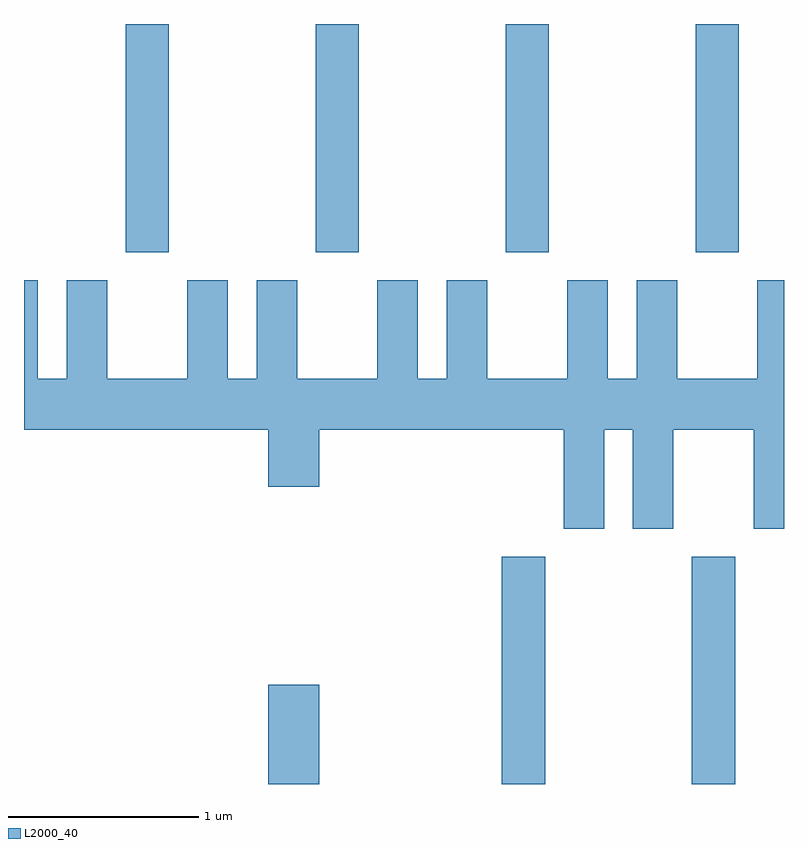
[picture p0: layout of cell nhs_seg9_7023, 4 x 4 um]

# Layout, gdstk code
import gdstk
lib = gdstk.Library(unit=1e-6, precision=1e-09)
def R(c, l, rs):  # rectangles x0, y0, x1, y1
    for r in rs: c.add(gdstk.rectangle(r[:2], r[2:], *l))
def A(c, l, x, y, w, h, nx, ny, dx, dy):  # array of equal rectangles
    R(c, l, [(x+i*dx, y+j*dy, x+i*dx+w, y+j*dy+h) for i in range(nx) for j in range(ny)])
def P(c, l, *ps):  # polygons
    for p in ps: c.add(gdstk.Polygon(p, *l))
L2000_40 = (2000, 40)

nhs_seg9_7023 = lib.new_cell('nhs_seg9_7023')
A(nhs_seg9_7023, L2000_40, 394.146, 1957.231, 0.228, 1.201, 4, 1, 1, 0)
R(nhs_seg9_7023, L2000_40, [(394.896,1954.432,395.164,1954.954), (396.126,1954.432,396.354,1955.629), (397.126,1954.432,397.354,1955.629)])
P(nhs_seg9_7023, L2000_40, [(396.664,1956.296),(396.816,1956.296),(396.816,1955.776),(397.029,1955.776),(397.029,1956.296),(397.451,1956.296),(397.451,1955.776),(397.611,1955.776),(397.611,1957.084),(397.471,1957.084),(397.471,1956.564),(397.049,1956.564),(397.049,1957.084),(396.836,1957.084),(396.836,1956.564),(396.684,1956.564),(396.684,1957.084),(396.471,1957.084),(396.471,1956.564),(396.049,1956.564),(396.049,1957.084),(395.836,1957.084),(395.836,1956.564),(395.684,1956.564),(395.684,1957.084),(395.471,1957.084),(395.471,1956.564),(395.049,1956.564),(395.049,1957.084),(394.836,1957.084),(394.836,1956.564),(394.684,1956.564),(394.684,1957.084),(394.471,1957.084),(394.471,1956.564),(394.049,1956.564),(394.049,1957.084),(393.836,1957.084),(393.836,1956.564),(393.684,1956.564),(393.684,1957.084),(393.611,1957.084),(393.611,1956.296),(394.896,1956.296),(394.896,1955.996),(395.164,1955.996),(395.164,1956.296),(396.451,1956.296),(396.451,1955.776),(396.664,1955.776)])

lib.write_gds('nhs_seg9_7023.gds')
